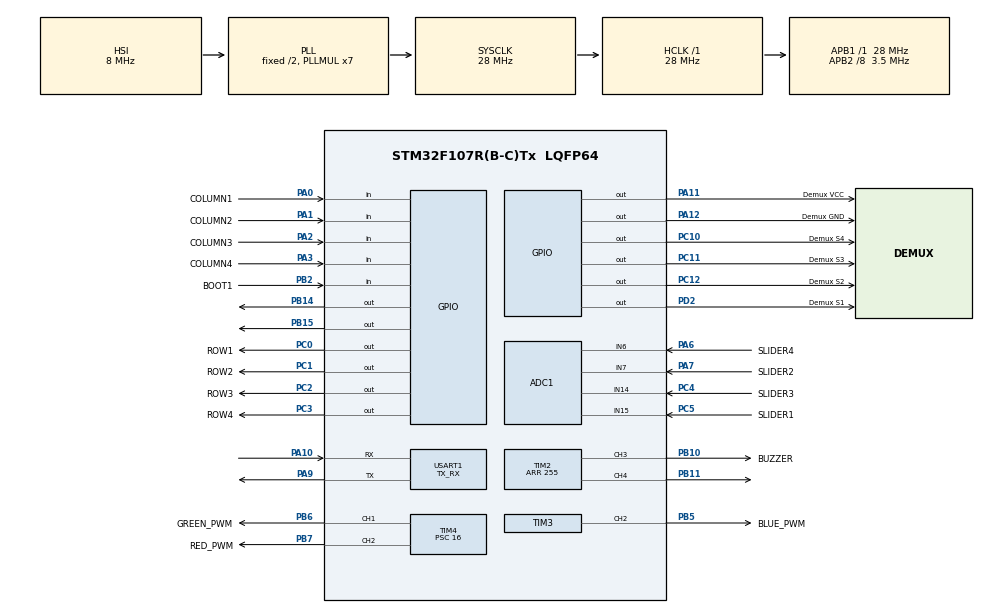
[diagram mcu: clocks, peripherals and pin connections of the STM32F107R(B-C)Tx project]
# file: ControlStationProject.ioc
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ADC1.Channel-6\#ChannelRegularConversion=ADC_CHANNEL_15
ADC1.ContinuousConvMode=ENABLE
ADC1.EnableInjectedConversion=DISABLE
ADC1.EnableRegularConversion=ENABLE
ADC1.InjNumberOfConversion=3
ADC1.NbrOfConversion=1
ADC1.NbrOfConversionFlag=1
ADC1.Rank-6\#ChannelRegularConversion=1
ADC1.SamplingTime-6\#ChannelRegularConversion=ADC_SAMPLETIME_239CYCLES_5
ADC1.master=1
Mcu.Family=STM32F1
Mcu.Name=STM32F107R(B-C)Tx
Mcu.Package=LQFP64
NVIC.ADC1_2_IRQn=true\:0\:0\:true\:false\:true\:true\:true
NVIC.PriorityGroup=NVIC_PRIORITYGROUP_4
NVIC.USART1_IRQn=true\:0\:0\:false\:false\:true\:true\:true
PA0-WKUP.GPIO_Label=COLUMN1
PA0-WKUP.Signal=GPIO_Input
PA1.GPIO_Label=COLUMN2
PA1.Signal=GPIO_Input
PA10.Mode=Asynchronous
PA10.Signal=USART1_RX
PA11.GPIO_Label=Demux VCC
PA11.Signal=GPIO_Output
PA12.GPIO_Label=Demux GND
PA12.Signal=GPIO_Output
PA13.Mode=Trace_Asynchronous_SW
PA13.Signal=SYS_JTMS-SWDIO
PA14.Mode=Trace_Asynchronous_SW
PA14.Signal=SYS_JTCK-SWCLK
PA2.GPIO_Label=COLUMN3
PA2.Signal=GPIO_Input
PA3.GPIO_Label=COLUMN4
PA3.Signal=GPIO_Input
PA6.GPIO_Label=SLIDER4
PA6.Signal=ADCx_IN6
PA7.GPIO_Label=SLIDER2
PA7.Signal=ADCx_IN7
PA9.Mode=Asynchronous
PA9.Signal=USART1_TX
PB10.GPIO_Label=BUZZER
PB10.Signal=S_TIM2_CH3
PB11.Signal=S_TIM2_CH4
PB14.Signal=GPIO_Output
PB15.Signal=GPIO_Output
PB2.GPIO_Label=BOOT1
PB2.Signal=GPIO_Input
PB3.Mode=Trace_Asynchronous_SW
PB3.Signal=SYS_TRACESWO
PB5.GPIO_Label=BLUE_PWM
PB5.Signal=S_TIM3_CH2
PB6.GPIO_Label=GREEN_PWM
PB6.Signal=S_TIM4_CH1
PB7.GPIO_Label=RED_PWM
PB7.Signal=S_TIM4_CH2
PC0.GPIO_Label=ROW1
PC0.Signal=GPIO_Output
PC1.GPIO_Label=ROW2
PC1.Signal=GPIO_Output
PC10.GPIO_Label=Demux S4
PC10.Signal=GPIO_Output
PC11.GPIO_Label=Demux S3
PC11.Signal=GPIO_Output
PC12.GPIO_Label=Demux S2
PC12.Signal=GPIO_Output
PC2.GPIO_Label=ROW3
PC2.Signal=GPIO_Output
PC3.GPIO_Label=ROW4
PC3.Signal=GPIO_Output
PC4.GPIO_Label=SLIDER3
PC4.Signal=ADCx_IN14
PC5.GPIO_Label=SLIDER1
PC5.Signal=ADCx_IN15
PD2.GPIO_Label=Demux S1
PD2.Signal=GPIO_Output
ProjectManager.HeapSize=0x200
ProjectManager.StackSize=0x400
ProjectManager.TargetToolchain=STM32CubeIDE
RCC.AHBFreq_Value=28000000
RCC.APB1Freq_Value=28000000
RCC.APB1TimFreq_Value=28000000
RCC.APB2CLKDivider=RCC_HCLK_DIV8
RCC.APB2Freq_Value=3500000
RCC.APB2TimFreq_Value=7000000
RCC.HCLKFreq_Value=28000000
RCC.PLLMUL=RCC_PLL_MUL7
RCC.SYSCLKFreq_VALUE=28000000
RCC.SYSCLKSource=RCC_SYSCLKSOURCE_PLLCLK
RCC.USBFreq_Value=18666666.666666668
SH.ADCx_IN14.0=ADC1_IN14,IN14
SH.ADCx_IN15.0=ADC1_IN15,IN15
SH.ADCx_IN6.0=ADC1_IN6,IN6
SH.ADCx_IN7.0=ADC1_IN7,IN7
SH.S_TIM2_CH3.0=TIM2_CH3,PWM Generation3 CH3
SH.S_TIM2_CH4.0=TIM2_CH4,PWM Generation4 CH4
SH.S_TIM3_CH2.0=TIM3_CH2,PWM Generation2 CH2
SH.S_TIM4_CH1.0=TIM4_CH1,PWM Generation1 CH1
SH.S_TIM4_CH2.0=TIM4_CH2,PWM Generation2 CH2
TIM2.Channel-PWM\ Generation3\ CH3=TIM_CHANNEL_3
TIM2.Channel-PWM\ Generation4\ CH4=TIM_CHANNEL_4
TIM2.Period=255
TIM2.Pulse-PWM\ Generation3\ CH3=128
TIM3.Channel-PWM\ Generation2\ CH2=TIM_CHANNEL_2
TIM3.CounterMode=TIM_COUNTERMODE_UP
TIM3.Period=255
TIM3.Prescaler=16
TIM3.Pulse-PWM\ Generation2\ CH2=255
TIM4.Channel-PWM\ Generation1\ CH1=TIM_CHANNEL_1
TIM4.Channel-PWM\ Generation2\ CH2=TIM_CHANNEL_2
TIM4.CounterMode=TIM_COUNTERMODE_UP
TIM4.Period=255
TIM4.Prescaler=16
TIM4.Pulse-PWM\ Generation1\ CH1=255
TIM4.Pulse-PWM\ Generation2\ CH2=255
USART1.Mode=MODE_TX_RX
USART1.VirtualMode=VM_ASYNC
VP_CRC_VS_CRC.Mode=CRC_Activate
VP_TIM2_VS_ClockSourceINT.Mode=Internal
VP_TIM3_VS_ClockSourceINT.Mode=Internal
VP_TIM4_VS_ClockSourceINT.Mode=Internal
board=custom

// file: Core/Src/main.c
/* USER CODE BEGIN Header */
/**
 ******************************************************************************
 * @file           : main.c
 * @brief          : Main program body
 ******************************************************************************
 * @attention
 *
 * <h2><center>&copy; Copyright (c) 2020 STMicroelectronics.
 * All rights reserved.</center></h2>
 *
 * This software component is licensed by ST under BSD 3-Clause license,
 * the "License"; You may not use this file except in compliance with the
 * License. You may obtain a copy of the License at:
 *                        opensource.org/licenses/BSD-3-Clause
 *
 ******************************************************************************
 */
/* USER CODE END Header */
#include "main.h"

/* USER CODE BEGIN Includes */
#include "math.h"
/* USER CODE END Includes */

ADC_HandleTypeDef hadc1;

CRC_HandleTypeDef hcrc;

TIM_HandleTypeDef htim2;
TIM_HandleTypeDef htim3;
TIM_HandleTypeDef htim4;

UART_HandleTypeDef huart1;

void SystemClock_Config(void);
static void MX_GPIO_Init(void);
static void MX_TIM3_Init(void);
static void MX_TIM4_Init(void);
static void MX_USART1_UART_Init(void);
static void MX_ADC1_Init(void);
static void MX_CRC_Init(void);
static void MX_TIM2_Init(void);
/* USER CODE BEGIN PFP */
void RGBvalue(uint8_t red, uint8_t green, uint8_t blue);
void HAL_UART_TxCpltCallback(UART_HandleTypeDef *huart);
void DemuxSelectSet(uint8_t fourBits);
void StateOfButtons(void);
void HAL_UART_RxCpltCallback(UART_HandleTypeDef *huart);

long map(long x, long in_min, long in_max, long out_min, long out_max);
float fscale( float originalMin, float originalMax, float newBegin, float newEnd, float inputValue, float curve);
unsigned int crc32b(unsigned char *message, size_t l);

/* USER CODE END PFP */

/* USER CODE BEGIN 0 */
uint8_t txData[10]={85,85};
uint8_t rxData=0;
uint16_t Led = 0;
uint8_t buttonState;
uint16_t outputPins[3] = { GPIO_PIN_0, GPIO_PIN_1, GPIO_PIN_2 };
uint32_t adcChannel[3] = {ADC_CHANNEL_15,ADC_CHANNEL_7,ADC_CHANNEL_14};
uint16_t Sliders[3] = { 0, 0, 0 };
uint8_t cnt = 0;
uint8_t uartTxFlag=0;
union byteConverter{
	unsigned int var32;
	uint8_t var8array[4];
}byteConverter;
/* USER CODE END 0 */

int main(void)
{

  /* MCU Configuration--------------------------------------------------------*/

  /* Reset of all peripherals, Initializes the Flash interface and the Systick. */
  HAL_Init();

  /* Configure the system clock */
  SystemClock_Config();

  /* Initialize all configured peripherals */
  MX_GPIO_Init();
  MX_TIM3_Init();
  MX_TIM4_Init();
  MX_USART1_UART_Init();
  MX_ADC1_Init();
  MX_CRC_Init();
  MX_TIM2_Init();
  /* USER CODE BEGIN 2 */

	HAL_TIM_PWM_Start(&htim3, TIM_CHANNEL_2);
	HAL_TIM_PWM_Start(&htim4, TIM_CHANNEL_1);
	HAL_TIM_PWM_Start(&htim4, TIM_CHANNEL_2);

	HAL_TIM_PWM_Start(&htim2, TIM_CHANNEL_3);
	HAL_GPIO_WritePin(GPIOB, GPIO_PIN_15, GPIO_PIN_SET);

	HAL_GPIO_WritePin(GPIOA, GPIO_PIN_11, GPIO_PIN_RESET);
	HAL_GPIO_WritePin(GPIOA, GPIO_PIN_12, GPIO_PIN_RESET);
	HAL_GPIO_WritePin(GPIOB, GPIO_PIN_14, GPIO_PIN_SET);
	HAL_GPIO_WritePin(GPIOC, GPIO_PIN_10, GPIO_PIN_SET);
	HAL_GPIO_WritePin(GPIOC, GPIO_PIN_11, GPIO_PIN_SET);
	HAL_GPIO_WritePin(GPIOC, GPIO_PIN_12, GPIO_PIN_SET);
	HAL_GPIO_WritePin(GPIOC, GPIO_PIN_2, GPIO_PIN_SET);
	HAL_ADC_Start_IT(&hadc1);
	HAL_UART_Transmit_IT(&huart1, txData, 10);
	HAL_UART_Receive_IT(&huart1, &rxData, 1);

	for(uint8_t i=0;i<3;i++){
		for(uint8_t i=0;i<8;i++){
			HAL_GPIO_WritePin(GPIOA, GPIO_PIN_11, GPIO_PIN_RESET);
			DemuxSelectSet(i);
			HAL_Delay(25);
		}
		for(uint8_t i=1;i<8;i++){
			HAL_GPIO_WritePin(GPIOA, GPIO_PIN_11, GPIO_PIN_RESET);
			DemuxSelectSet(7-i);
			HAL_Delay(25);
		}
	}

	for(uint32_t i=0;i<5000;i++){
		for(uint8_t i=8;i<13;i++){
			DemuxSelectSet(i);
		}
	}

  /* USER CODE END 2 */

  /* Infinite loop */
	while (1) {

    /* USER CODE BEGIN 3 */
		if(uartTxFlag){
			for (uint8_t i = 0; i < 3; i++) {
				HAL_GPIO_WritePin(GPIOC, outputPins[i], GPIO_PIN_SET);
				StateOfButtons();
				HAL_GPIO_WritePin(GPIOC, outputPins[i], GPIO_PIN_RESET);
			}
			txData[2] = buttonState;
			txData[3] = (uint8_t) (fscale(0, 4035, 0, 255,  Sliders[2],4.5));
			txData[4] = (uint8_t) (map(Sliders[1], 0, 4035, 0, 255));
			txData[5] = (uint8_t) (map(Sliders[0], 0, 4035, 0, 255));
			byteConverter.var32 = crc32b(txData,6);
			txData[6] = byteConverter.var8array[3];
			txData[7] = byteConverter.var8array[2];
			txData[8] = byteConverter.var8array[1];
			txData[9] = byteConverter.var8array[0];
			Led = ((uint16_t)(rxData<<8)) | buttonState;
			uartTxFlag=0;
		}

		for (uint8_t ledCount = 0; ledCount < 13; ledCount++) {
			if ((Led & (1 << ledCount)) == (1 << ledCount)) {
				DemuxSelectSet(ledCount);
			}
		}
		HAL_GPIO_WritePin(GPIOA, GPIO_PIN_11, GPIO_PIN_RESET);
	}
  /* USER CODE END 3 */
}

void SystemClock_Config(void)
{
  RCC_OscInitTypeDef RCC_OscInitStruct = {0};
  RCC_ClkInitTypeDef RCC_ClkInitStruct = {0};
  RCC_PeriphCLKInitTypeDef PeriphClkInit = {0};

  /** Initializes the RCC Oscillators according to the specified parameters
  * in the RCC_OscInitTypeDef structure.
  */
  RCC_OscInitStruct.OscillatorType = RCC_OSCILLATORTYPE_HSI;
  RCC_OscInitStruct.HSIState = RCC_HSI_ON;
  RCC_OscInitStruct.HSICalibrationValue = RCC_HSICALIBRATION_DEFAULT;
  RCC_OscInitStruct.Prediv1Source = RCC_PREDIV1_SOURCE_HSE;
  RCC_OscInitStruct.PLL.PLLState = RCC_PLL_ON;
  RCC_OscInitStruct.PLL.PLLSource = RCC_PLLSOURCE_HSI_DIV2;
  RCC_OscInitStruct.PLL.PLLMUL = RCC_PLL_MUL7;
  RCC_OscInitStruct.PLL2.PLL2State = RCC_PLL_NONE;
  if (HAL_RCC_OscConfig(&RCC_OscInitStruct) != HAL_OK)
  {
    Error_Handler();
  }
  /** Initializes the CPU, AHB and APB buses clocks
  */
  RCC_ClkInitStruct.ClockType = RCC_CLOCKTYPE_HCLK|RCC_CLOCKTYPE_SYSCLK
                              |RCC_CLOCKTYPE_PCLK1|RCC_CLOCKTYPE_PCLK2;
  RCC_ClkInitStruct.SYSCLKSource = RCC_SYSCLKSOURCE_PLLCLK;
  RCC_ClkInitStruct.AHBCLKDivider = RCC_SYSCLK_DIV1;
  RCC_ClkInitStruct.APB1CLKDivider = RCC_HCLK_DIV1;
  RCC_ClkInitStruct.APB2CLKDivider = RCC_HCLK_DIV8;

  if (HAL_RCC_ClockConfig(&RCC_ClkInitStruct, FLASH_LATENCY_1) != HAL_OK)
  {
    Error_Handler();
  }
  PeriphClkInit.PeriphClockSelection = RCC_PERIPHCLK_ADC;
  PeriphClkInit.AdcClockSelection = RCC_ADCPCLK2_DIV2;
  if (HAL_RCCEx_PeriphCLKConfig(&PeriphClkInit) != HAL_OK)
  {
    Error_Handler();
  }
  /** Configure the Systick interrupt time
  */
  __HAL_RCC_PLLI2S_ENABLE();
}

static void MX_ADC1_Init(void)
{

  ADC_ChannelConfTypeDef sConfig = {0};

  /** Common config
  */
  hadc1.Instance = ADC1;
  hadc1.Init.ScanConvMode = ADC_SCAN_ENABLE;
  hadc1.Init.ContinuousConvMode = ENABLE;
  hadc1.Init.DiscontinuousConvMode = DISABLE;
  hadc1.Init.ExternalTrigConv = ADC_SOFTWARE_START;
  hadc1.Init.DataAlign = ADC_DATAALIGN_RIGHT;
  hadc1.Init.NbrOfConversion = 1;
  if (HAL_ADC_Init(&hadc1) != HAL_OK)
  {
    Error_Handler();
  }
  /** Configure Regular Channel
  */
  sConfig.Channel = ADC_CHANNEL_15;
  sConfig.Rank = ADC_REGULAR_RANK_1;
  sConfig.SamplingTime = ADC_SAMPLETIME_239CYCLES_5;
  if (HAL_ADC_ConfigChannel(&hadc1, &sConfig) != HAL_OK)
  {
    Error_Handler();
  }

}

static void MX_CRC_Init(void)
{

  hcrc.Instance = CRC;
  if (HAL_CRC_Init(&hcrc) != HAL_OK)
  {
    Error_Handler();
  }

}

static void MX_TIM2_Init(void)
{

  TIM_ClockConfigTypeDef sClockSourceConfig = {0};
  TIM_MasterConfigTypeDef sMasterConfig = {0};
  TIM_OC_InitTypeDef sConfigOC = {0};

  htim2.Instance = TIM2;
  htim2.Init.Prescaler = 0;
  htim2.Init.CounterMode = TIM_COUNTERMODE_UP;
  htim2.Init.Period = 255;
  htim2.Init.ClockDivision = TIM_CLOCKDIVISION_DIV1;
  htim2.Init.AutoReloadPreload = TIM_AUTORELOAD_PRELOAD_DISABLE;
  if (HAL_TIM_Base_Init(&htim2) != HAL_OK)
  {
    Error_Handler();
  }
  sClockSourceConfig.ClockSource = TIM_CLOCKSOURCE_INTERNAL;
  if (HAL_TIM_ConfigClockSource(&htim2, &sClockSourceConfig) != HAL_OK)
  {
    Error_Handler();
  }
  if (HAL_TIM_PWM_Init(&htim2) != HAL_OK)
  {
    Error_Handler();
  }
  sMasterConfig.MasterOutputTrigger = TIM_TRGO_RESET;
  sMasterConfig.MasterSlaveMode = TIM_MASTERSLAVEMODE_DISABLE;
  if (HAL_TIMEx_MasterConfigSynchronization(&htim2, &sMasterConfig) != HAL_OK)
  {
    Error_Handler();
  }
  sConfigOC.OCMode = TIM_OCMODE_PWM1;
  sConfigOC.Pulse = 128;
  sConfigOC.OCPolarity = TIM_OCPOLARITY_HIGH;
  sConfigOC.OCFastMode = TIM_OCFAST_DISABLE;
  if (HAL_TIM_PWM_ConfigChannel(&htim2, &sConfigOC, TIM_CHANNEL_3) != HAL_OK)
  {
    Error_Handler();
  }
  sConfigOC.Pulse = 0;
  if (HAL_TIM_PWM_ConfigChannel(&htim2, &sConfigOC, TIM_CHANNEL_4) != HAL_OK)
  {
    Error_Handler();
  }
  HAL_TIM_MspPostInit(&htim2);

}

static void MX_TIM3_Init(void)
{

  TIM_ClockConfigTypeDef sClockSourceConfig = {0};
  TIM_MasterConfigTypeDef sMasterConfig = {0};
  TIM_OC_InitTypeDef sConfigOC = {0};

  htim3.Instance = TIM3;
  htim3.Init.Prescaler = 16;
  htim3.Init.CounterMode = TIM_COUNTERMODE_UP;
  htim3.Init.Period = 255;
  htim3.Init.ClockDivision = TIM_CLOCKDIVISION_DIV1;
  htim3.Init.AutoReloadPreload = TIM_AUTORELOAD_PRELOAD_DISABLE;
  if (HAL_TIM_Base_Init(&htim3) != HAL_OK)
  {
    Error_Handler();
  }
  sClockSourceConfig.ClockSource = TIM_CLOCKSOURCE_INTERNAL;
  if (HAL_TIM_ConfigClockSource(&htim3, &sClockSourceConfig) != HAL_OK)
  {
    Error_Handler();
  }
  if (HAL_TIM_PWM_Init(&htim3) != HAL_OK)
  {
    Error_Handler();
  }
  sMasterConfig.MasterOutputTrigger = TIM_TRGO_RESET;
  sMasterConfig.MasterSlaveMode = TIM_MASTERSLAVEMODE_DISABLE;
  if (HAL_TIMEx_MasterConfigSynchronization(&htim3, &sMasterConfig) != HAL_OK)
  {
    Error_Handler();
  }
  sConfigOC.OCMode = TIM_OCMODE_PWM1;
  sConfigOC.Pulse = 255;
  sConfigOC.OCPolarity = TIM_OCPOLARITY_HIGH;
  sConfigOC.OCFastMode = TIM_OCFAST_DISABLE;
  if (HAL_TIM_PWM_ConfigChannel(&htim3, &sConfigOC, TIM_CHANNEL_2) != HAL_OK)
  {
    Error_Handler();
  }
  HAL_TIM_MspPostInit(&htim3);

}

static void MX_TIM4_Init(void)
{

  TIM_ClockConfigTypeDef sClockSourceConfig = {0};
  TIM_MasterConfigTypeDef sMasterConfig = {0};
  TIM_OC_InitTypeDef sConfigOC = {0};

  htim4.Instance = TIM4;
  htim4.Init.Prescaler = 16;
  htim4.Init.CounterMode = TIM_COUNTERMODE_UP;
  htim4.Init.Period = 255;
  htim4.Init.ClockDivision = TIM_CLOCKDIVISION_DIV1;
  htim4.Init.AutoReloadPreload = TIM_AUTORELOAD_PRELOAD_DISABLE;
  if (HAL_TIM_Base_Init(&htim4) != HAL_OK)
  {
    Error_Handler();
  }
  sClockSourceConfig.ClockSource = TIM_CLOCKSOURCE_INTERNAL;
  if (HAL_TIM_ConfigClockSource(&htim4, &sClockSourceConfig) != HAL_OK)
  {
    Error_Handler();
  }
  if (HAL_TIM_PWM_Init(&htim4) != HAL_OK)
  {
    Error_Handler();
  }
  sMasterConfig.MasterOutputTrigger = TIM_TRGO_RESET;
  sMasterConfig.MasterSlaveMode = TIM_MASTERSLAVEMODE_DISABLE;
  if (HAL_TIMEx_MasterConfigSynchronization(&htim4, &sMasterConfig) != HAL_OK)
  {
    Error_Handler();
  }
  sConfigOC.OCMode = TIM_OCMODE_PWM1;
  sConfigOC.Pulse = 255;
  sConfigOC.OCPolarity = TIM_OCPOLARITY_HIGH;
  sConfigOC.OCFastMode = TIM_OCFAST_DISABLE;
  if (HAL_TIM_PWM_ConfigChannel(&htim4, &sConfigOC, TIM_CHANNEL_1) != HAL_OK)
  {
    Error_Handler();
  }
  if (HAL_TIM_PWM_ConfigChannel(&htim4, &sConfigOC, TIM_CHANNEL_2) != HAL_OK)
  {
    Error_Handler();
  }
  HAL_TIM_MspPostInit(&htim4);

}

static void MX_USART1_UART_Init(void)
{

  huart1.Instance = USART1;
  huart1.Init.BaudRate = 115200;
  huart1.Init.WordLength = UART_WORDLENGTH_8B;
  huart1.Init.StopBits = UART_STOPBITS_1;
  huart1.Init.Parity = UART_PARITY_NONE;
  huart1.Init.Mode = UART_MODE_TX_RX;
  huart1.Init.HwFlowCtl = UART_HWCONTROL_NONE;
  huart1.Init.OverSampling = UART_OVERSAMPLING_16;
  if (HAL_UART_Init(&huart1) != HAL_OK)
  {
    Error_Handler();
  }

}

static void MX_GPIO_Init(void)
{
  GPIO_InitTypeDef GPIO_InitStruct = {0};

  /* GPIO Ports Clock Enable */
  __HAL_RCC_GPIOC_CLK_ENABLE();
  __HAL_RCC_GPIOA_CLK_ENABLE();
  __HAL_RCC_GPIOB_CLK_ENABLE();
  __HAL_RCC_GPIOD_CLK_ENABLE();

  /*Configure GPIO pin Output Level */
  HAL_GPIO_WritePin(GPIOC, ROW1_Pin|ROW2_Pin|ROW3_Pin|ROW4_Pin
                          |Demux_S4_Pin|Demux_S3_Pin|Demux_S2_Pin, GPIO_PIN_RESET);

  /*Configure GPIO pin Output Level */
  HAL_GPIO_WritePin(GPIOB, GPIO_PIN_14|GPIO_PIN_15, GPIO_PIN_RESET);

  /*Configure GPIO pin Output Level */
  HAL_GPIO_WritePin(GPIOA, Demux_VCC_Pin|Demux_GND_Pin, GPIO_PIN_RESET);

  /*Configure GPIO pin Output Level */
  HAL_GPIO_WritePin(Demux_S1_GPIO_Port, Demux_S1_Pin, GPIO_PIN_RESET);

  /*Configure GPIO pins : ROW1_Pin ROW2_Pin ROW3_Pin ROW4_Pin
                           Demux_S4_Pin Demux_S3_Pin Demux_S2_Pin */
  GPIO_InitStruct.Pin = ROW1_Pin|ROW2_Pin|ROW3_Pin|ROW4_Pin
                          |Demux_S4_Pin|Demux_S3_Pin|Demux_S2_Pin;
  GPIO_InitStruct.Mode = GPIO_MODE_OUTPUT_PP;
  GPIO_InitStruct.Pull = GPIO_NOPULL;
  GPIO_InitStruct.Speed = GPIO_SPEED_FREQ_LOW;
  HAL_GPIO_Init(GPIOC, &GPIO_InitStruct);

  /*Configure GPIO pins : COLUMN1_Pin COLUMN2_Pin COLUMN3_Pin COLUMN4_Pin */
  GPIO_InitStruct.Pin = COLUMN1_Pin|COLUMN2_Pin|COLUMN3_Pin|COLUMN4_Pin;
  GPIO_InitStruct.Mode = GPIO_MODE_INPUT;
  GPIO_InitStruct.Pull = GPIO_NOPULL;
  HAL_GPIO_Init(GPIOA, &GPIO_InitStruct);

  /*Configure GPIO pin : BOOT1_Pin */
  GPIO_InitStruct.Pin = BOOT1_Pin;
  GPIO_InitStruct.Mode = GPIO_MODE_INPUT;
  GPIO_InitStruct.Pull = GPIO_NOPULL;
  HAL_GPIO_Init(BOOT1_GPIO_Port, &GPIO_InitStruct);

  /*Configure GPIO pins : PB14 PB15 */
  GPIO_InitStruct.Pin = GPIO_PIN_14|GPIO_PIN_15;
  GPIO_InitStruct.Mode = GPIO_MODE_OUTPUT_PP;
  GPIO_InitStruct.Pull = GPIO_NOPULL;
  GPIO_InitStruct.Speed = GPIO_SPEED_FREQ_LOW;
  HAL_GPIO_Init(GPIOB, &GPIO_InitStruct);

  /*Configure GPIO pins : Demux_VCC_Pin Demux_GND_Pin */
  GPIO_InitStruct.Pin = Demux_VCC_Pin|Demux_GND_Pin;
  GPIO_InitStruct.Mode = GPIO_MODE_OUTPUT_PP;
  GPIO_InitStruct.Pull = GPIO_NOPULL;
  GPIO_InitStruct.Speed = GPIO_SPEED_FREQ_LOW;
  HAL_GPIO_Init(GPIOA, &GPIO_InitStruct);

  /*Configure GPIO pin : Demux_S1_Pin */
  GPIO_InitStruct.Pin = Demux_S1_Pin;
  GPIO_InitStruct.Mode = GPIO_MODE_OUTPUT_PP;
  GPIO_InitStruct.Pull = GPIO_NOPULL;
  GPIO_InitStruct.Speed = GPIO_SPEED_FREQ_LOW;
  HAL_GPIO_Init(Demux_S1_GPIO_Port, &GPIO_InitStruct);

}

/* USER CODE BEGIN 4 */
void RGBvalue(uint8_t red, uint8_t green, uint8_t blue) {
	__HAL_TIM_SET_COMPARE(&htim4, TIM_CHANNEL_2, 255 - blue);
	__HAL_TIM_SET_COMPARE(&htim4, TIM_CHANNEL_1, 255 - green);
	__HAL_TIM_SET_COMPARE(&htim3, TIM_CHANNEL_2, 255 - red);
}

void DemuxSelectSet(uint8_t fourBits) {
	HAL_GPIO_WritePin(GPIOA, GPIO_PIN_11, GPIO_PIN_RESET);
	if (((fourBits) & 1) == 1) {
		HAL_GPIO_WritePin(GPIOD, GPIO_PIN_2, GPIO_PIN_SET);
	} else {
		HAL_GPIO_WritePin(GPIOD, GPIO_PIN_2, GPIO_PIN_RESET);
	}

	if (((fourBits) & 2) == 2) {
		HAL_GPIO_WritePin(GPIOC, GPIO_PIN_12, GPIO_PIN_SET);
	} else {
		HAL_GPIO_WritePin(GPIOC, GPIO_PIN_12, GPIO_PIN_RESET);
	}

	if (((fourBits) & 4) == 4) {
		HAL_GPIO_WritePin(GPIOC, GPIO_PIN_11, GPIO_PIN_SET);
	} else {
		HAL_GPIO_WritePin(GPIOC, GPIO_PIN_11, GPIO_PIN_RESET);
	}

	if (((fourBits) & 8) == 8) {
		HAL_GPIO_WritePin(GPIOC, GPIO_PIN_10, GPIO_PIN_SET);
	} else {
		HAL_GPIO_WritePin(GPIOC, GPIO_PIN_10, GPIO_PIN_RESET);
	}
	RGBvalue(246, 28, 163);
	HAL_GPIO_WritePin(GPIOA, GPIO_PIN_11, GPIO_PIN_SET);
}

void StateOfButtons(void) {
	if (HAL_GPIO_ReadPin(GPIOC, GPIO_PIN_0) == GPIO_PIN_SET) {
		if (HAL_GPIO_ReadPin(GPIOA, GPIO_PIN_0) == GPIO_PIN_SET) {
			buttonState |= (1 << 0);
		} else {
			buttonState &= (~(1 << 0));
		}

		if (HAL_GPIO_ReadPin(GPIOA, GPIO_PIN_1) == GPIO_PIN_SET) {
			buttonState |= (1 << 1);
		} else {
			buttonState &= (~(1 << 1));
		}

		if (HAL_GPIO_ReadPin(GPIOA, GPIO_PIN_2) == GPIO_PIN_SET) {
			buttonState |= (1 << 2);
		} else {
			buttonState &= (~(1 << 2));
		}
	}

	if (HAL_GPIO_ReadPin(GPIOC, GPIO_PIN_1) == GPIO_PIN_SET) {
		if (HAL_GPIO_ReadPin(GPIOA, GPIO_PIN_0) == GPIO_PIN_SET) {
			buttonState |= (1 << 3);
		} else {
			buttonState &= (~(1 << 3));
		}

		if (HAL_GPIO_ReadPin(GPIOA, GPIO_PIN_1) == GPIO_PIN_SET) {
			buttonState |= (1 << 4);
		} else {
			buttonState &= (~(1 << 4));
		}

		if (HAL_GPIO_ReadPin(GPIOA, GPIO_PIN_2) == GPIO_PIN_SET) {
			buttonState |= (1 << 5);
		} else {
			buttonState &= (~(1 << 5));
		}
	}

	if (HAL_GPIO_ReadPin(GPIOC, GPIO_PIN_2) == GPIO_PIN_SET) {
		if (HAL_GPIO_ReadPin(GPIOA, GPIO_PIN_0) == GPIO_PIN_SET) {
			buttonState |= (1 << 6);
		} else {
			buttonState &= (~(1 << 6));
		}

		if (HAL_GPIO_ReadPin(GPIOA, GPIO_PIN_1) == GPIO_PIN_SET) {
			buttonState |= (1 << 7);
		} else {
			buttonState &= (~(1 << 7));
		}
	}

}

void HAL_UART_TxCpltCallback(UART_HandleTypeDef *huart) {
	uartTxFlag=1;
	HAL_UART_Transmit_IT(&huart1, txData, 10);
}

void HAL_ADC_ConvCpltCallback(ADC_HandleTypeDef *hadc) {
	/* Prevent unused argument(s) compilation warning */
	UNUSED(hadc);
	/* NOTE : This function should not be modified. When the callback is needed,
	 function HAL_ADC_ConvCpltCallback must be implemented in the user file.
	 */

	Sliders[cnt++] = HAL_ADC_GetValue(hadc);
	if (cnt == 3) cnt = 0;
	ADC_ChannelConfTypeDef sConfig = { 0 };
	sConfig.Rank = ADC_REGULAR_RANK_1;
	sConfig.SamplingTime = ADC_SAMPLETIME_239CYCLES_5;
	sConfig.Channel = adcChannel[cnt];
	HAL_ADC_ConfigChannel(&hadc1, &sConfig);
}

void HAL_UART_RxCpltCallback(UART_HandleTypeDef *huart)
{
  UNUSED(huart);
  HAL_UART_Receive_IT(&huart1, &rxData, 1);
}

long map(long x, long in_min, long in_max, long out_min, long out_max) {
	return (x - in_min) * (out_max - out_min) / (in_max - in_min) + out_min;
}

float fscale( float originalMin, float originalMax, float newBegin, float newEnd, float inputValue, float curve){
  float OriginalRange = 0;
  float NewRange = 0;
  float zeroRefCurVal = 0;
  float normalizedCurVal = 0;
  float rangedValue = 0;
  // condition curve parameter
  // limit range
  if (curve > 10) curve = 10;
  if (curve < -10) curve = -10;
  curve = (curve * -.1) ; // - invert and scale - this seems more intuitive - postive numbers give more weight to high end on output
  curve = pow(10, curve); // convert linear scale into lograthimic exponent for other pow function
  if (inputValue > originalMax) {
    inputValue = originalMax;
  }
  // Zero Refference the values
  OriginalRange = originalMax - originalMin;
  NewRange = newEnd - newBegin;
  zeroRefCurVal = inputValue - originalMin;
  normalizedCurVal  =  zeroRefCurVal / OriginalRange;   // normalize to 0 - 1 float
  rangedValue =  (pow(normalizedCurVal, curve) * NewRange) + newBegin;
  return rangedValue;
}

unsigned int crc32b(unsigned char *message, size_t l)
{
   size_t i, j;
   unsigned int crc, msb;

   crc = 0xFFFFFFFF;
   for(i = 0; i < l; i++) {
      // xor next byte to upper bits of crc
      crc ^= (((unsigned int)message[i])<<24);
      for (j = 0; j < 8; j++) {    // Do eight times.
            msb = crc>>31;
            crc <<= 1;
            crc ^= (0 - msb) & 0x04C11DB7;
      }
   }
   return crc;         // don't complement crc on output
}

/* USER CODE END 4 */

void Error_Handler(void)
{
}

/************************ (C) COPYRIGHT STMicroelectronics *****END OF FILE****/
